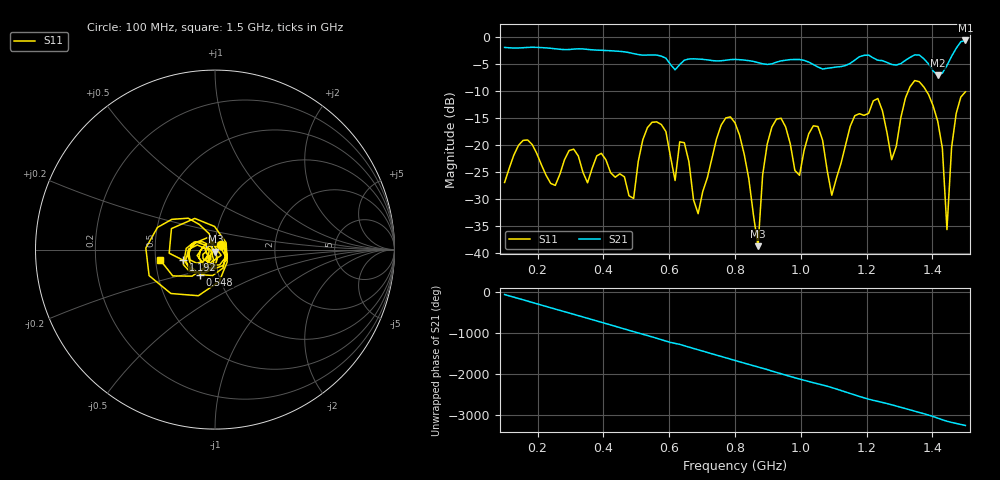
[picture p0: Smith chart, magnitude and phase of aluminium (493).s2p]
! NanoVNA-App
! Date: 2025-09-25 14:59:07
! Start: 100MHz Stop: 1,5GHz Points: 101
! S-Parameter data: F S11 S21 S12 S22
# Hz S RI R 50
!  Frequency  S11_Real  S11_Imag  S21_Real  S21_Imag  S12_Real  S12_Imag  S22_Real  S22_Imag
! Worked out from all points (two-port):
!   101 points, 100 MHz to 1.5 GHz, reference 50 ohm
!   highest |S21| = -0.63 dB at 1.5 GHz (marker M1); lowest = -7.1 dB at 1.416 GHz (marker M2)
!   |S21| within 3 dB of the highest: start of sweep to 579.5 MHz; 1.458 GHz to end of sweep (the widest 2 of 4)
!   lowest |S11| = -38.8 dB at 870 MHz (marker M3), VSWR 1.02, Z = 50.2 - j1.14 ohm
!   |S11| at or under -10 dB: start of sweep to 1.327 GHz; 1.381 GHz to end of sweep
!   S12 and S22 are empty: the file has one direction only
!   S11 on the Smith chart (normalised r, x): 100 MHz: 1.07, +0.06; 548 MHz: 0.82, -0.24; 1.192 GHz: 0.69, -0.08; 1.5 GHz: 0.53, -0.07
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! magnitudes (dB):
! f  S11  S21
! 100 MHz  -27.0  -1.9
! 156 MHz  -19.2  -2.0
! 338 MHz  -25.1  -2.2
! 492 MHz  -29.9  -3.1
! 548 MHz  -15.8  -3.3
! 576 MHz  -16.2  -3.5
! 646 MHz  -19.6  -4.3
! 688 MHz  -32.8  -4.1
! 800 MHz  -15.9  -4.1
! 870 MHz  -38.8  -4.7
! 912 MHz  -16.7  -5.0
! 996 MHz  -25.6  -4.2
! 1.038 GHz  -16.5  -5.1
! 1.094 GHz  -29.3  -5.7
! 1.192 GHz  -14.5  -3.4
! 1.234 GHz  -11.4  -4.3
! 1.276 GHz  -22.7  -5.1
! 1.346 GHz  -8.1  -3.3
! 1.416 GHz  -15.6  -7.1
! 1.444 GHz  -35.7  -5.3
! 1.458 GHz  -20.5  -3.6
! 1.5 GHz  -10.2  -0.6
